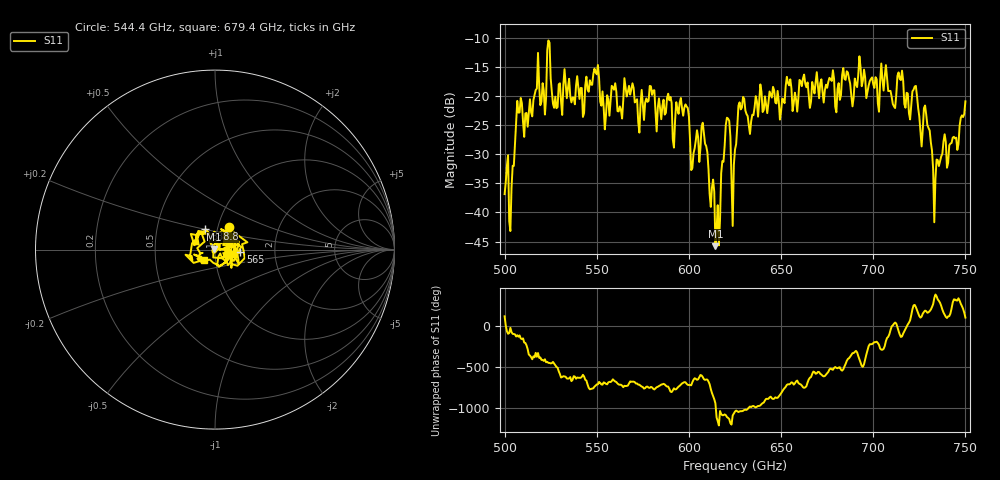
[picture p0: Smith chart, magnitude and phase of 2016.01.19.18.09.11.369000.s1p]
!Created with skrf (http://scikit-rf.org).
# GHz S RI R 50.0
!freq ReS11 ImS11
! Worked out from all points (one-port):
!   401 points, 500 GHz to 750 GHz, reference 50 ohm
!   lowest |S11| = -45.8 dB at 614.4 GHz (marker M1), VSWR 1.01, Z = 49.6 + j0.33 ohm
!   |S11| at or under -10 dB: start of sweep to end of sweep
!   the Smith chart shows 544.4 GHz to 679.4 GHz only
!   S11 on the Smith chart (normalised r, x): 544.4 GHz: 1.13, +0.29; 565 GHz: 1.33, -0.04; 638.8 GHz: 0.88, +0.20; 679.4 GHz: 0.88, -0.10
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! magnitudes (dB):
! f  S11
! 500 GHz  -36.8
! 503.8 GHz  -35.8
! 508.1 GHz  -22.8
! 521.2 GHz  -19.0
! 524.4 GHz  -10.8
! 527.5 GHz  -20.1
! 531.2 GHz  -23.2
! 544.4 GHz  -16.7
! 562.5 GHz  -21.8
! 565 GHz  -16.9
! 593.8 GHz  -22.2
! 598.8 GHz  -21.8
! 601.9 GHz  -32.4
! 608.1 GHz  -26.5
! 614.4 GHz  -45.8
! 615.6 GHz  -38.8
! 620.6 GHz  -23.7
! 625 GHz  -29.2
! 628.1 GHz  -22.3
! 638.8 GHz  -18.0
! 656.2 GHz  -22.6
! 679.4 GHz  -21.8
! 687.5 GHz  -17.9
! 714.4 GHz  -17.1
! 718.8 GHz  -19.6
! 728.8 GHz  -23.2
! 733.8 GHz  -34.2
! 750 GHz  -20.9
